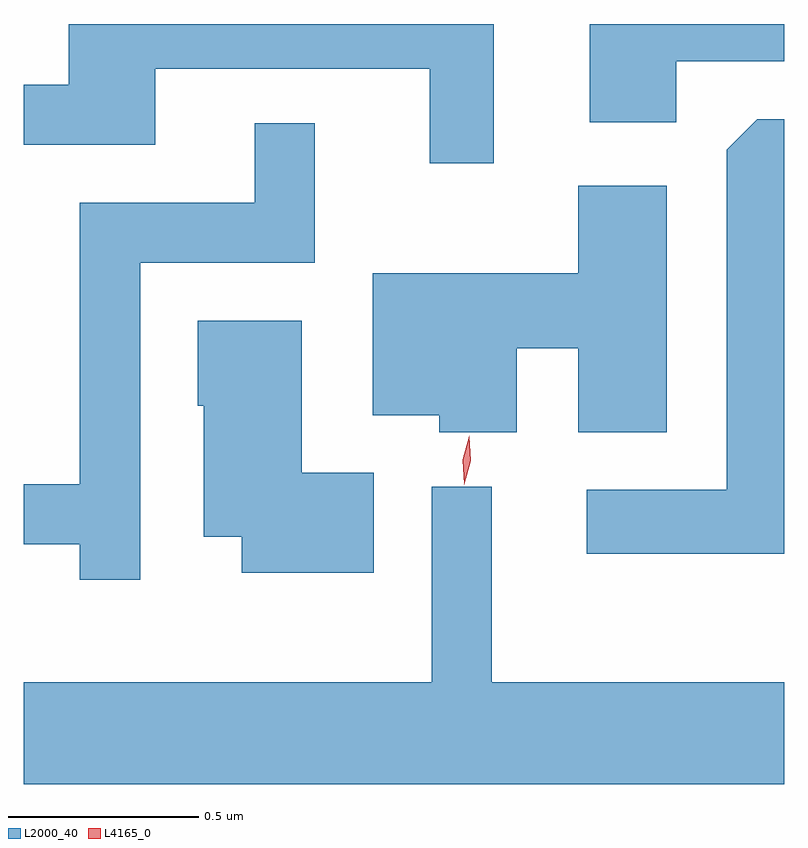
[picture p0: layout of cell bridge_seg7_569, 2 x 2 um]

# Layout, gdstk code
import gdstk
lib = gdstk.Library(unit=1e-6, precision=1e-09)
def P(c, l, *ps):  # polygons
    for p in ps: c.add(gdstk.Polygon(p, *l))
L2000_40 = (2000, 40)
L4165_0 = (4165, 0)

bridge_seg7_569 = lib.new_cell('bridge_seg7_569')
P(bridge_seg7_569, L2000_40, [(956.919,1771.814),(955.801,1771.814),(955.801,1771.654),(955.683,1771.654),(955.683,1771.496),(956.029,1771.496),(956.029,1771.696),(956.751,1771.696),(956.751,1771.448),(956.919,1771.448)],
  [(957.399,1771.716),(957.683,1771.716),(957.683,1771.814),(957.171,1771.814),(957.171,1771.556),(957.399,1771.556)],
  [(957.683,1771.564),(957.612,1771.564),(957.531,1771.484),(957.531,1770.589),(957.163,1770.589),(957.163,1770.421),(957.683,1770.421)],
  [(955.989,1771.186),(956.449,1771.186),(956.449,1771.553),(956.291,1771.553),(956.291,1771.344),(955.831,1771.344),(955.831,1770.604),(955.683,1770.604),(955.683,1770.446),(955.831,1770.446),(955.831,1770.353),(955.989,1770.353)],
  [(956.979,1770.961),(957.141,1770.961),(957.141,1770.741),(957.374,1770.741),(957.374,1771.389),(957.141,1771.389),(957.141,1771.159),(956.601,1771.159),(956.601,1770.786),(956.776,1770.786),(956.776,1770.741),(956.979,1770.741)],
  [(956.604,1770.634),(956.414,1770.634),(956.414,1771.034),(956.141,1771.034),(956.141,1770.81),(956.156,1770.81),(956.156,1770.466),(956.256,1770.466),(956.256,1770.371),(956.604,1770.371)],
  [(957.683,1770.084),(956.914,1770.084),(956.914,1770.598),(956.756,1770.598),(956.756,1770.084),(955.683,1770.084),(955.683,1769.816),(957.683,1769.816)])
P(bridge_seg7_569, L4165_0, [(956.842,1770.603),(956.841,1770.604),(956.838,1770.668),(956.854,1770.73),(956.854,1770.731),(956.854,1770.73),(956.858,1770.666),(956.842,1770.604)])

lib.write_gds('bridge_seg7_569.gds')
